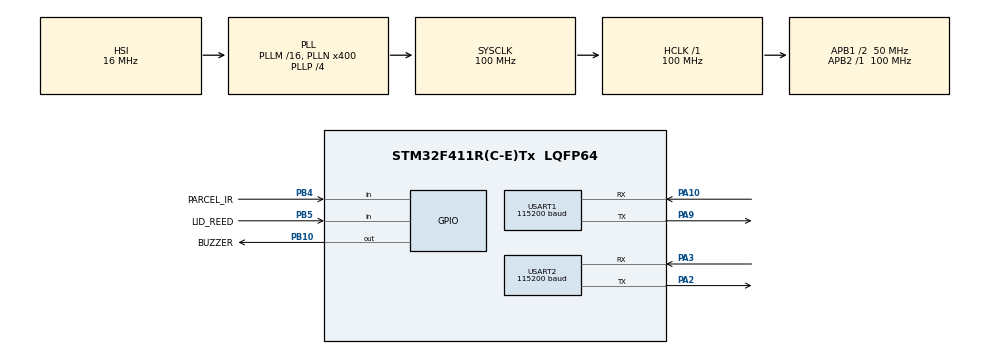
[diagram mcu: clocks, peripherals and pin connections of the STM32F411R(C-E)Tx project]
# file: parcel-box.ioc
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Mcu.Family=STM32F4
Mcu.Name=STM32F411R(C-E)Tx
Mcu.Package=LQFP64
NVIC.PriorityGroup=NVIC_PRIORITYGROUP_4
NVIC.USART1_IRQn=true\:0\:0\:false\:false\:true\:true\:true\:true
PA10.GPIO_PuPd=GPIO_PULLUP
PA10.Mode=Asynchronous
PA10.Signal=USART1_RX
PA13.Mode=Serial_Wire
PA13.Signal=SYS_JTMS-SWDIO
PA14.Mode=Serial_Wire
PA14.Signal=SYS_JTCK-SWCLK
PA2.GPIO_PuPd=GPIO_PULLUP
PA2.Mode=Asynchronous
PA2.Signal=USART2_TX
PA3.GPIO_PuPd=GPIO_PULLUP
PA3.Mode=Asynchronous
PA3.Signal=USART2_RX
PA9.GPIO_PuPd=GPIO_PULLUP
PA9.Mode=Asynchronous
PA9.Signal=USART1_TX
PB10.GPIO_Label=BUZZER
PB10.PinState=GPIO_PIN_RESET
PB10.Signal=GPIO_Output
PB4.GPIO_Label=PARCEL_IR
PB4.GPIO_PuPd=GPIO_PULLUP
PB4.Signal=GPIO_Input
PB5.GPIO_Label=LID_REED
PB5.GPIO_PuPd=GPIO_PULLUP
PB5.Signal=GPIO_Input
ProjectManager.HeapSize=0x200
ProjectManager.StackSize=0x400
ProjectManager.TargetToolchain=STM32CubeIDE
RCC.48MHZClocksFreq_Value=57142857.14285714
RCC.AHBFreq_Value=100000000
RCC.APB1CLKDivider=RCC_HCLK_DIV2
RCC.APB1Freq_Value=50000000
RCC.APB1TimFreq_Value=100000000
RCC.APB2Freq_Value=100000000
RCC.APB2TimFreq_Value=100000000
RCC.CortexFreq_Value=100000000
RCC.FLatency-AdvancedSettings=FLASH_LATENCY_3
RCC.HCLKFreq_Value=100000000
RCC.HSE_VALUE=8000000
RCC.HSI_VALUE=16000000
RCC.LSE_VALUE=32768
RCC.PLLM=16
RCC.PLLN=400
RCC.PLLP=RCC_PLLP_DIV4
RCC.PLLQ=7
RCC.SYSCLKFreq_VALUE=100000000
RCC.SYSCLKSource=RCC_SYSCLKSOURCE_PLLCLK
RCC.VCOOutputFreq_Value=400000000
USART1.BaudRate=115200
USART1.VirtualMode=VM_ASYNC
USART2.BaudRate=115200
USART2.VirtualMode=VM_ASYNC
board=custom

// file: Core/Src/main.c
/* USER CODE BEGIN Header */
/**
  ******************************************************************************
  * @file           : main.c
  * @brief          : Smart Parcel Box firmware for the NUCLEO-F411RE: the
  *                   hardware adapter's main loop (product.md section 5,
  *                   ADR 0001).
  *
  * Every BOX_TICK_MS it reads the sensors and feeds them to the Box logic
  * core. The core's Box status changes go through box_lines, which writes
  * the STS lines (and the heartbeat) to the ESP32 and mirrors them to the
  * debug log. The first one also opens the Event sender's session (box_sender
  * sends BOOT until the ESP32 ACKs it). Its Events go to the Event sender,
  * which numbers them and resends each EVT line until the ESP32 ACKs it. Its
  * buzzer commands drive the buzzer pin through board_set_buzzer(). Bytes from the
  * ESP32 arrive by interrupt and are fed to box_rx in the main loop, which
  * mirrors each line to the debug log and hands the ACKs to the sender
  * (all from the main loop, never an interrupt). All the decisions are in
  * BoxCore; this file and the rest of stm32/Core only touch the hardware.
  *
  * Generated by STM32CubeMX from parcel-box.ioc. Keep every hand-written
  * line inside a USER CODE BEGIN/END block, or regenerating deletes it.
  ******************************************************************************
  * @attention
  *
  * Copyright (c) 2026 STMicroelectronics.
  * All rights reserved.
  *
  * This software is licensed under terms that can be found in the LICENSE file
  * in the root directory of this software component.
  * If no LICENSE file comes with this software, it is provided AS-IS.
  *
  ******************************************************************************
  */
/* USER CODE END Header */
#include "main.h"

/* USER CODE BEGIN Includes */
#include "board.h"
#include "box_core.h"
#include "box_lines.h"
#include "box_rx.h"
#include "box_sender.h"
#include "serial.h"
/* USER CODE END Includes */

/* USER CODE BEGIN PD */
#define BOX_TICK_MS 10u

/* Debug port only, so the ESP32 never has to parse it. No build timestamp:
 * main.o isn't rebuilt when only other files change, so it would go stale. */
#define BOOT_BANNER "# parcel-box STM32 firmware booted\r\n"
/* USER CODE END PD */

UART_HandleTypeDef huart1;
UART_HandleTypeDef huart2;

/* USER CODE BEGIN PV */
static BoxCore core;
static BoxLines lines;
static BoxRx reader;
static BoxSender sender;
/* USER CODE END PV */

void SystemClock_Config(void);
static void MX_GPIO_Init(void);
static void MX_USART1_UART_Init(void);
static void MX_USART2_UART_Init(void);

/* USER CODE BEGIN 0 */
static void send_line(void *context, const char *line)
{
  (void)context;
  serial_send_line(line);
}

/* The core's on_buzzer output. Its context is the BoxLines that the other
 * outputs use, so it is ignored here. */
static void drive_buzzer(void *context, bool on, uint32_t now_ms)
{
  (void)context;
  (void)now_ms;
  board_set_buzzer(on);
}

/* box_rx's on_line output: every line the ESP32 sends, unknown ones too. */
static void mirror_received(void *context, const char *line)
{
  (void)context;
  serial_mirror_received(line);
}

/* box_rx's on_dropped output: a line from the ESP32 was dropped (too long,
 * not printable, bytes lost in it, or a missing or wrong checksum). The
 * same words as the ESP32's own debug log. */
static void mirror_dropped(void *context)
{
  (void)context;
  serial_debug("# dropped line\r\n");
}

/* The core's on_box_status_changed output: the STS line, then (only the
 * first time: the starting state is now known) the sender's BOOT line.
 * Its context is the BoxLines that box_lines_core_outputs() set. */
static void box_status_changed(void *context, BoxStatus status, uint32_t now_ms)
{
  box_lines_on_box_status_changed(context, status, now_ms);
  box_sender_start(&sender, now_ms);
}

/* The core's on_event output: the Event sender numbers it and sends it
 * until it is ACKed. Its context is the BoxLines, so it is ignored here. */
static void event_happened(void *context, BoxEvent event, uint32_t now_ms)
{
  (void)context;
  (void)box_sender_add(&sender, event, now_ms);
}

/* The Event sender's on_dropped output: the outbox was full. */
static void event_dropped(void *context, uint32_t seq, BoxEvent event)
{
  (void)context;
  (void)event;
  serial_debug("# Outbox full: dropped Event ");
  serial_debug_uint(seq);
  serial_debug("\r\n");
}

/* box_rx's on_ack output: `ACK,0` opens the session; `ACK,<seq>` stops the
 * resends of Event `seq`. Only an ACK the sender accepts is logged (the
 * line itself is already mirrored as "< ACK,..."). Called from
 * serial_poll_received(), before the main loop reads its clock for the
 * ticks, so this stamp is never later than theirs. */
static void ack_received(void *context, uint32_t seq)
{
  (void)context;
  if (!box_sender_ack(&sender, seq, HAL_GetTick()))
  {
    return;
  }
  if (seq == BOX_BOOT_SEQ)
  {
    serial_debug("# Session open\r\n");
  }
  else
  {
    serial_debug("# ACK for Event ");
    serial_debug_uint(seq);
    serial_debug("\r\n");
  }
}
/* USER CODE END 0 */

int main(void)
{

  /* USER CODE BEGIN 1 */
  BoxLinesOutput output = {0};
  BoxRxOutputs reader_outputs = {0};
  BoxSenderOutputs sender_outputs = {0};
  BoxCoreOutputs core_outputs;
  uint32_t last_tick_ms;
  /* USER CODE END 1 */

  /* MCU Configuration--------------------------------------------------------*/

  /* Reset of all peripherals, Initializes the Flash interface and the Systick. */
  HAL_Init();

  /* Configure the system clock */
  SystemClock_Config();

  /* Initialize all configured peripherals */
  MX_GPIO_Init();
  MX_USART1_UART_Init();
  MX_USART2_UART_Init();
  /* USER CODE BEGIN 2 */
  serial_debug(BOOT_BANNER);

  output.write_line = send_line;
  box_lines_init(&lines, output);
  sender_outputs.write_line = send_line;
  sender_outputs.on_dropped = event_dropped;
  box_sender_init(&sender, sender_outputs);
  last_tick_ms = HAL_GetTick();
  core_outputs = box_lines_core_outputs(&lines);
  core_outputs.on_box_status_changed = box_status_changed;
  core_outputs.on_event = event_happened;
  core_outputs.on_buzzer = drive_buzzer;
  box_core_init(&core, core_outputs, last_tick_ms, board_read_sensors());

  reader_outputs.on_line = mirror_received;
  reader_outputs.on_ack = ack_received;
  reader_outputs.on_dropped = mirror_dropped;
  box_rx_init(&reader, reader_outputs);
  serial_start_receiving();
  /* USER CODE END 2 */

  /* Infinite loop */
  while (1)
  {

    /* USER CODE BEGIN 3 */
    uint32_t now_ms;
    serial_poll_received(&reader);
    /* Read the clock after the ACKs: mirroring them to USART2 takes a few
     * ms, and an ACK stamped later than this pass's ticks would make the
     * Event it sends look overdue. */
    now_ms = HAL_GetTick();
    /* Unsigned subtraction keeps this right when the tick wraps. */
    if ((uint32_t)(now_ms - last_tick_ms) >= BOX_TICK_MS)
    {
      last_tick_ms = now_ms;
      box_core_tick(&core, now_ms, board_read_sensors());
      box_lines_tick(&lines, now_ms);
      box_sender_tick(&sender, now_ms);
    }
  }
  /* USER CODE END 3 */
}

void SystemClock_Config(void)
{
  RCC_OscInitTypeDef RCC_OscInitStruct = {0};
  RCC_ClkInitTypeDef RCC_ClkInitStruct = {0};

  /** Configure the main internal regulator output voltage
  */
  __HAL_RCC_PWR_CLK_ENABLE();
  __HAL_PWR_VOLTAGESCALING_CONFIG(PWR_REGULATOR_VOLTAGE_SCALE1);

  /** Initializes the RCC Oscillators according to the specified parameters
  * in the RCC_OscInitTypeDef structure.
  */
  RCC_OscInitStruct.OscillatorType = RCC_OSCILLATORTYPE_HSI;
  RCC_OscInitStruct.HSIState = RCC_HSI_ON;
  RCC_OscInitStruct.HSICalibrationValue = RCC_HSICALIBRATION_DEFAULT;
  RCC_OscInitStruct.PLL.PLLState = RCC_PLL_ON;
  RCC_OscInitStruct.PLL.PLLSource = RCC_PLLSOURCE_HSI;
  RCC_OscInitStruct.PLL.PLLM = 16;
  RCC_OscInitStruct.PLL.PLLN = 400;
  RCC_OscInitStruct.PLL.PLLP = RCC_PLLP_DIV4;
  RCC_OscInitStruct.PLL.PLLQ = 7;
  if (HAL_RCC_OscConfig(&RCC_OscInitStruct) != HAL_OK)
  {
    Error_Handler();
  }

  /** Initializes the CPU, AHB and APB buses clocks
  */
  RCC_ClkInitStruct.ClockType = RCC_CLOCKTYPE_HCLK|RCC_CLOCKTYPE_SYSCLK
                              |RCC_CLOCKTYPE_PCLK1|RCC_CLOCKTYPE_PCLK2;
  RCC_ClkInitStruct.SYSCLKSource = RCC_SYSCLKSOURCE_PLLCLK;
  RCC_ClkInitStruct.AHBCLKDivider = RCC_SYSCLK_DIV1;
  RCC_ClkInitStruct.APB1CLKDivider = RCC_HCLK_DIV2;
  RCC_ClkInitStruct.APB2CLKDivider = RCC_HCLK_DIV1;

  if (HAL_RCC_ClockConfig(&RCC_ClkInitStruct, FLASH_LATENCY_3) != HAL_OK)
  {
    Error_Handler();
  }
}

static void MX_USART1_UART_Init(void)
{

  huart1.Instance = USART1;
  huart1.Init.BaudRate = 115200;
  huart1.Init.WordLength = UART_WORDLENGTH_8B;
  huart1.Init.StopBits = UART_STOPBITS_1;
  huart1.Init.Parity = UART_PARITY_NONE;
  huart1.Init.Mode = UART_MODE_TX_RX;
  huart1.Init.HwFlowCtl = UART_HWCONTROL_NONE;
  huart1.Init.OverSampling = UART_OVERSAMPLING_16;
  if (HAL_UART_Init(&huart1) != HAL_OK)
  {
    Error_Handler();
  }

}

static void MX_USART2_UART_Init(void)
{

  huart2.Instance = USART2;
  huart2.Init.BaudRate = 115200;
  huart2.Init.WordLength = UART_WORDLENGTH_8B;
  huart2.Init.StopBits = UART_STOPBITS_1;
  huart2.Init.Parity = UART_PARITY_NONE;
  huart2.Init.Mode = UART_MODE_TX_RX;
  huart2.Init.HwFlowCtl = UART_HWCONTROL_NONE;
  huart2.Init.OverSampling = UART_OVERSAMPLING_16;
  if (HAL_UART_Init(&huart2) != HAL_OK)
  {
    Error_Handler();
  }

}

static void MX_GPIO_Init(void)
{
  GPIO_InitTypeDef GPIO_InitStruct = {0};

  /* GPIO Ports Clock Enable */
  __HAL_RCC_GPIOA_CLK_ENABLE();
  __HAL_RCC_GPIOB_CLK_ENABLE();

  /*Configure GPIO pin Output Level */
  HAL_GPIO_WritePin(BUZZER_GPIO_Port, BUZZER_Pin, GPIO_PIN_RESET);

  /*Configure GPIO pin : BUZZER_Pin */
  GPIO_InitStruct.Pin = BUZZER_Pin;
  GPIO_InitStruct.Mode = GPIO_MODE_OUTPUT_PP;
  GPIO_InitStruct.Pull = GPIO_NOPULL;
  GPIO_InitStruct.Speed = GPIO_SPEED_FREQ_LOW;
  HAL_GPIO_Init(BUZZER_GPIO_Port, &GPIO_InitStruct);

  /*Configure GPIO pins : PARCEL_IR_Pin LID_REED_Pin */
  GPIO_InitStruct.Pin = PARCEL_IR_Pin|LID_REED_Pin;
  GPIO_InitStruct.Mode = GPIO_MODE_INPUT;
  GPIO_InitStruct.Pull = GPIO_PULLUP;
  HAL_GPIO_Init(GPIOB, &GPIO_InitStruct);

}

void Error_Handler(void)
{
  __disable_irq();
  while (1)
  {
  }
}
